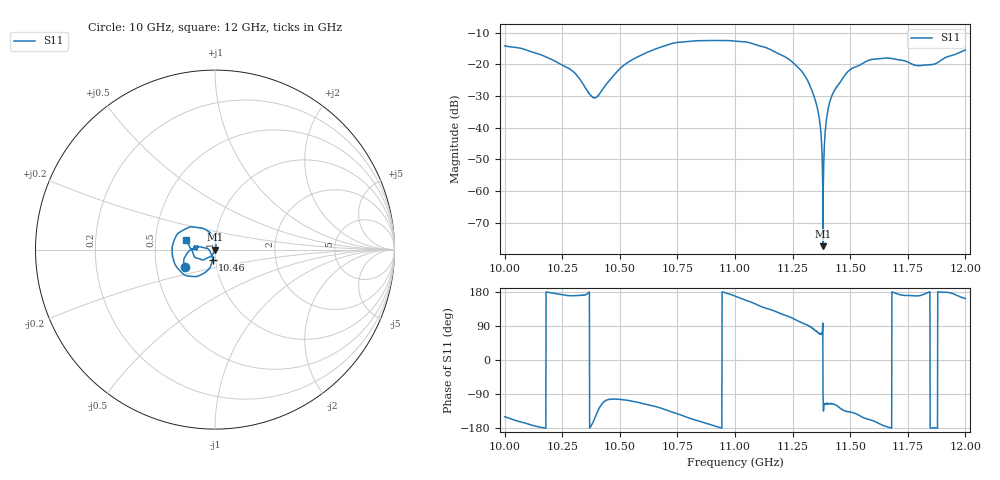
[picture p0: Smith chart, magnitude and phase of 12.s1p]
[Version] 2.0
! Rohde & Schwarz Vector Network Analyzer
! Rohde-Schwarz,ZNL20-2Port,1323001220200009,1.71.1.10-23.02.1.238
! Port Assignments:
! Nominal Port -> Actual Test Port
!  1 -> 1
! Created: GMT 2024-08-27 12:52:30
# Hz S DB R 50
[Number of Ports] 1
! freq[Hz]  S11[mag dB]  S11[ang]
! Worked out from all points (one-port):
!   2001 points, 10 GHz to 12 GHz, reference 50 ohm
!   lowest |S11| = -77.4 dB at 11.38 GHz (marker M1), VSWR 1.00, Z = 50 - j0.0135 ohm
!   |S11| at or under -10 dB: start of sweep to end of sweep
!   S11 on the Smith chart (normalised r, x): 10 GHz: 0.70, -0.14; 10.46 GHz: 0.97, -0.11; 12 GHz: 0.72, +0.08
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[Number of Frequencies] 28
[Network Data]
1e10  -14.13 -149.7
1.0153e10  -16.81 -177.1
1.025e10  -20.20 172.3
1.0305e10  -22.73 169.9
1.0387e10  -30.55 -160.0
1.046e10  -24.63 -103.5
1.05e10  -21.35 -103.9
1.062e10  -16.12 -118.0
1.075e10  -13.04 -142.0
1.1e10  -12.62 168.7
1.1136e10  -14.73 136.3
1.125e10  -19.29 110.1
1.1304e10  -23.67 94.7
1.1344e10  -30.24 79.9
1.1364e10  -36.26 69.7
1.1369e10  -39.04 69.6
1.1375e10  -44.15 70.6
1.1382e10  -77.40 -86.2
1.1389e10  -44.17 -116.5
1.1395e10  -38.49 -116.4
1.14e10  -35.69 -116.7
1.1415e10  -30.96 -114.8
1.144e10  -27.22 -119.8
1.15e10  -21.57 -137.4
1.1598e10  -18.36 -160.2
1.175e10  -19.27 170.1
1.1859e10  -19.98 -179.1
1.2e10  -15.45 162.2
[End]
